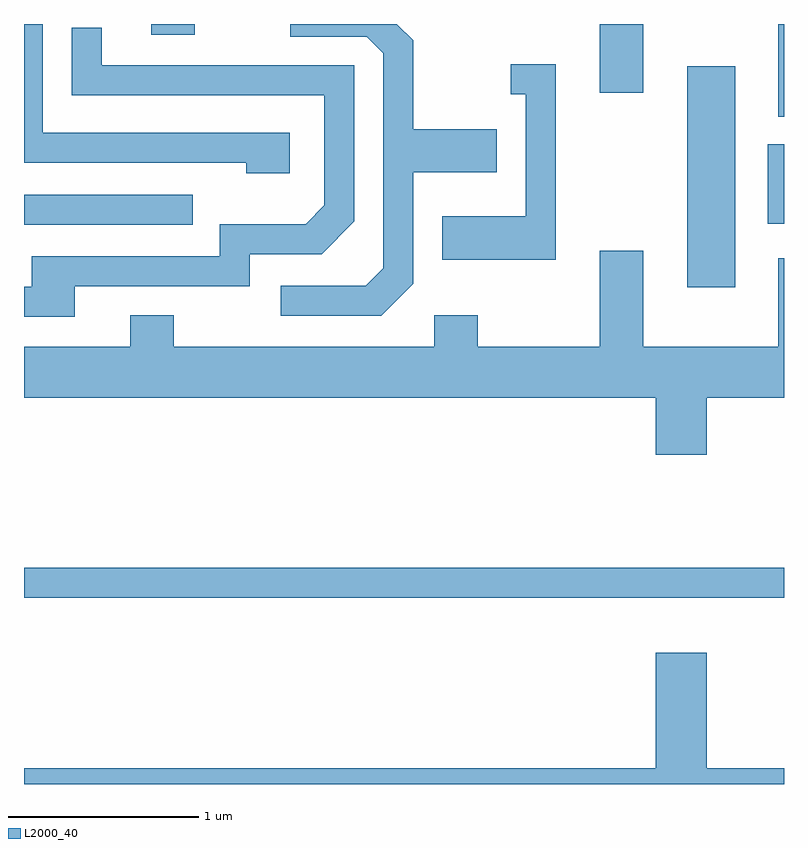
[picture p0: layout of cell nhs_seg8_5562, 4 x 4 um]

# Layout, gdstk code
import gdstk
lib = gdstk.Library(unit=1e-6, precision=1e-09)
def R(c, l, rs):  # rectangles x0, y0, x1, y1
    for r in rs: c.add(gdstk.rectangle(r[:2], r[2:], *l))
def P(c, l, *ps):  # polygons
    for p in ps: c.add(gdstk.Polygon(p, *l))
L2000_40 = (2000, 40)

nhs_seg8_5562 = lib.new_cell('nhs_seg8_5562')
R(nhs_seg8_5562, L2000_40, [(351.611,1875.321,355.611,1875.479), (355.101,1876.956,355.354,1878.119), (351.611,1877.286,352.498,1877.444), (355.526,1877.291,355.611,1877.709), (355.581,1877.853,355.611,1878.342), (354.641,1877.981,354.869,1878.342), (352.281,1878.286,352.509,1878.342)])
P(nhs_seg8_5562, L2000_40, [(353.009,1877.769),(351.709,1877.769),(351.709,1878.342),(351.611,1878.342),(351.611,1877.611),(352.781,1877.611),(352.781,1877.556),(353.009,1877.556)],
  [(353.659,1876.974),(353.659,1877.561),(354.099,1877.561),(354.099,1877.789),(353.659,1877.789),(353.659,1878.257),(353.574,1878.342),(353.013,1878.342),(353.013,1878.276),(353.414,1878.276),(353.501,1878.189),(353.501,1877.057),(353.409,1876.964),(352.963,1876.964),(352.963,1876.806),(353.492,1876.806)],
  [(351.879,1876.961),(352.799,1876.961),(352.799,1877.131),(353.177,1877.131),(353.349,1877.304),(353.349,1878.124),(352.019,1878.124),(352.019,1878.323),(351.861,1878.323),(351.861,1877.966),(353.191,1877.966),(353.191,1877.387),(353.094,1877.289),(352.641,1877.289),(352.641,1877.119),(351.651,1877.119),(351.651,1876.959),(351.611,1876.959),(351.611,1876.801),(351.879,1876.801)],
  [(354.409,1878.129),(354.173,1878.129),(354.173,1877.971),(354.251,1877.971),(354.251,1877.329),(353.811,1877.329),(353.811,1877.101),(354.409,1877.101)],
  [(354.869,1877.149),(354.641,1877.149),(354.641,1876.644),(353.999,1876.644),(353.999,1876.809),(353.771,1876.809),(353.771,1876.644),(352.399,1876.644),(352.399,1876.809),(352.171,1876.809),(352.171,1876.644),(351.611,1876.644),(351.611,1876.376),(354.936,1876.376),(354.936,1876.076),(355.204,1876.076),(355.204,1876.376),(355.611,1876.376),(355.611,1877.108),(355.581,1877.108),(355.581,1876.644),(354.869,1876.644)],
  [(355.611,1874.424),(355.204,1874.424),(355.204,1875.034),(354.936,1875.034),(354.936,1874.424),(351.611,1874.424),(351.611,1874.342),(355.611,1874.342)])

lib.write_gds('nhs_seg8_5562.gds')
